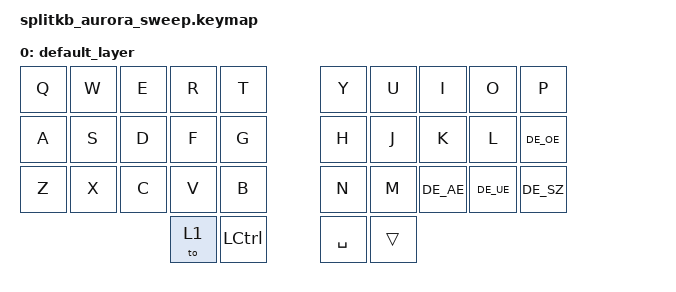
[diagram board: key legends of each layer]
/*
 * SPDX-License-Identifier: MIT
 */

#include <behaviors.dtsi>
#include <dt-bindings/zmk/keys.h>
#include "keys_de.h"

/ {
    keymap {
        compatible = "zmk,keymap";

        /* LAYER 0: default (erstmal simpel, aber mit DE_* möglich) */

        default_layer {
            bindings = <
&kp Q  &kp W      &kp E  &kp R  &kp T    &kp Y  &kp U  &kp I      &kp O      &kp P
&kp A  &kp S      &kp D  &kp F  &kp G    &kp H  &kp J  &kp K      &kp L      &kp DE_OE
&kp Z  &kp X      &kp C  &kp V  &kp B    &kp N  &kp M  &kp DE_AE  &kp DE_UE  &kp DE_SZ
&to 1  &kp LCTRL                                                  &kp SPACE  &trans
            >;
        };
    };
};
